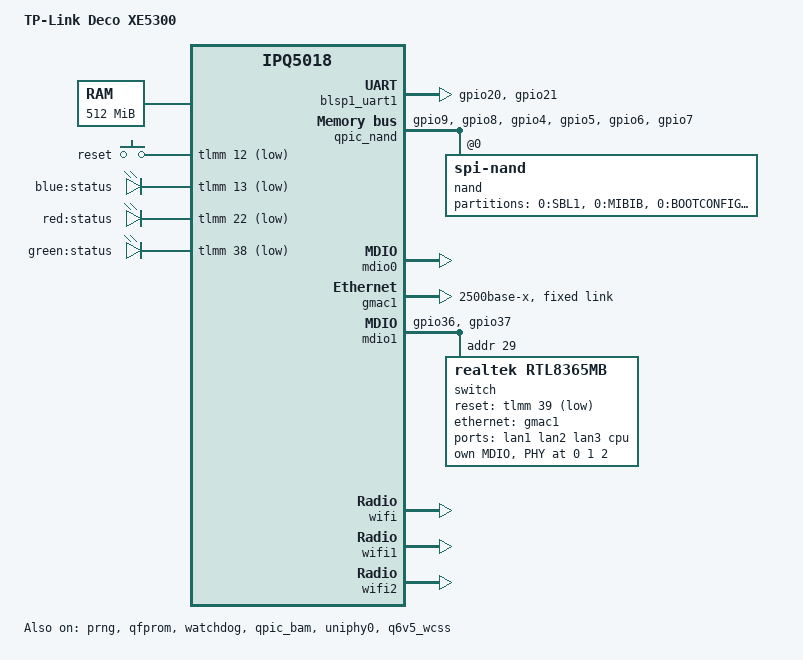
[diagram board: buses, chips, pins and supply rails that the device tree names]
// SPDX-License-Identifier: GPL-2.0-or-later OR MIT
/*
 * TP-Link Deco XE5300 (hardware 2.0)
 *
 * IPQ5018 with its 2.4 GHz radio, two QCN6122 radios (5 and 6 GHz), an
 * RTL8367S-VB switch behind a 2.5 Gb/s fixed link, 512 MiB RAM and 128 MiB
 * QPIC serial NAND.
 *
 * The stock bootloader selects a firmware slot by name from the tp_boot_idx
 * variable (0: "rootfs", 1: "rootfs_1") and passes ubi.mtd=<slot>
 * root=mtd:ubi_rootfs. OpenWrt keeps its kernel FIT in UBI volume "kernel"
 * and its root file system in volume "rootfs", so the root device is
 * overridden below.
 */

/dts-v1/;

/* As in the stock device tree. */
/memreserve/ 0x4a3ee000 0x10000;

#include "ipq5018.dtsi"
#include "ipq5018-ess.dtsi"
#include "ipq5018-qcn6122.dtsi"

#include <dt-bindings/gpio/gpio.h>
#include <dt-bindings/input/input.h>

/ {
	model = "TP-Link Deco XE5300";
	compatible = "tplink,deco-xe5300", "qcom,ipq5018";

	aliases {
		serial0 = &blsp1_uart1;
		led-boot = &led_status_blue;
		led-failsafe = &led_status_red;
		led-running = &led_status_green;
		led-upgrade = &led_status_blue;
	};

	chosen {
		stdout-path = "serial0:115200n8";
		/*
		 * The bootloader hardcodes root=mtd:ubi_rootfs; override it.
		 * The Q6 needs clocks that no driver claims: without
		 * clk_ignore_unused its start times out.
		 */
		bootargs-append = " root=/dev/ubiblock0_1 coherent_pool=2M clk_ignore_unused";
	};

	memory@40000000 {
		device_type = "memory";
		reg = <0x0 0x40000000 0x0 0x20000000>;
	};

	reserved-memory {
		/* Keeps the kernel log of a crash across the reboot (pstore). */
		ramoops@40f00000 {
			compatible = "ramoops";
			reg = <0x0 0x40f00000 0x0 0x100000>;
			record-size = <0x20000>;
			console-size = <0x40000>;
			pmsg-size = <0x10000>;
		};
	};

	keys {
		compatible = "gpio-keys";
		pinctrl-0 = <&button_pins>;
		pinctrl-names = "default";

		button-reset {
			label = "reset";
			gpios = <&tlmm 12 GPIO_ACTIVE_LOW>;
			linux,code = <KEY_RESTART>;
			debounce-interval = <60>;
		};
	};

	leds {
		compatible = "gpio-leds";
		pinctrl-0 = <&led_pins>;
		pinctrl-names = "default";

		/* One status light with three colours; GPIOs from the stock device tree. */
		led_status_blue: led-status-blue {
			label = "blue:status";
			gpios = <&tlmm 13 GPIO_ACTIVE_LOW>;
			default-state = "off";
		};

		led_status_red: led-status-red {
			label = "red:status";
			gpios = <&tlmm 22 GPIO_ACTIVE_LOW>;
			default-state = "off";
		};

		led_status_green: led-status-green {
			label = "green:status";
			gpios = <&tlmm 38 GPIO_ACTIVE_LOW>;
			default-state = "off";
		};
	};
};

&tz_region {
	/* 4 MiB, as in the stock device tree. */
	reg = <0x0 0x4ac00000 0x0 0x400000>;
};

&sleep_clk {
	clock-frequency = <32000>;
};

&xo_board_clk {
	clock-div = <4>;
	clock-mult = <1>;
};

&blsp1_uart1 {
	pinctrl-0 = <&serial_0_pins>;
	pinctrl-names = "default";
	status = "okay";
};

&prng {
	status = "okay";
};

&qfprom {
	status = "okay";
};

&watchdog {
	status = "okay";
};

&qpic_bam {
	status = "okay";
};

&qpic_nand {
	pinctrl-0 = <&qpic_pins>;
	pinctrl-names = "default";
	status = "okay";

	nand@0 {
		compatible = "spi-nand";
		reg = <0>;

		nand-ecc-engine = <&qpic_nand>;
		nand-ecc-strength = <4>;
		nand-ecc-step-size = <512>;
		nand-bus-width = <8>;

		/*
		 * Offsets read from stock. Only the two firmware slots and the
		 * bootloader environment (for tp_boot_idx) are writable.
		 */
		partitions {
			compatible = "fixed-partitions";
			#address-cells = <1>;
			#size-cells = <1>;

			partition@0 {
				label = "0:SBL1";
				reg = <0x0 0x80000>;
				read-only;
			};

			partition@80000 {
				label = "0:MIBIB";
				reg = <0x80000 0x80000>;
				read-only;
			};

			partition@100000 {
				label = "0:BOOTCONFIG";
				reg = <0x100000 0x40000>;
				read-only;
			};

			partition@140000 {
				label = "0:BOOTCONFIG1";
				reg = <0x140000 0x40000>;
				read-only;
			};

			partition@180000 {
				label = "0:QSEE";
				reg = <0x180000 0x100000>;
				read-only;
			};

			partition@280000 {
				label = "0:DEVCFG";
				reg = <0x280000 0x40000>;
				read-only;
			};

			partition@2c0000 {
				label = "0:CDT";
				reg = <0x2c0000 0x40000>;
				read-only;
			};

			partition@300000 {
				label = "0:APPSBLENV";
				reg = <0x300000 0x80000>;
			};

			partition@380000 {
				label = "0:APPSBL";
				reg = <0x380000 0x140000>;
				read-only;
			};

			partition@4c0000 {
				label = "0:ART";
				reg = <0x4c0000 0x100000>;
				read-only;
			};

			partition@5c0000 {
				label = "0:TRAINING";
				reg = <0x5c0000 0x80000>;
				read-only;
			};

			partition@640000 {
				label = "rootfs";
				reg = <0x640000 0x2a00000>;
			};

			partition@3040000 {
				label = "rootfs_1";
				reg = <0x3040000 0x2a00000>;
			};

			partition@5a40000 {
				label = "0:ETHPHYFW";
				reg = <0x5a40000 0x80000>;
				read-only;
			};

			partition@5ac0000 {
				label = "factory_data";
				reg = <0x5ac0000 0x900000>;
				read-only;
			};

			partition@63c0000 {
				label = "runtime_data";
				reg = <0x63c0000 0x1100000>;
				read-only;
			};
		};
	};
};

/* mdio0 carries the shared MDIO clock and reset. */
&mdio0 {
	status = "okay";
};

&uniphy0 {
	status = "okay";
};

&gmac1 {
	status = "okay";
	phy-mode = "2500base-x";

	fixed-link {
		speed = <2500>;
		full-duplex;
	};
};

&mdio1 {
	status = "okay";
	pinctrl-0 = <&mdio1_pins>;
	pinctrl-names = "default";

	switch@1d {
		compatible = "realtek,rtl8365mb";
		reg = <0x1d>;
		reset-gpios = <&tlmm 39 GPIO_ACTIVE_LOW>;

		mdio {
			compatible = "realtek,smi-mdio";
			#address-cells = <1>;
			#size-cells = <0>;

			switchphy0: ethernet-phy@0 {
				reg = <0>;
			};

			switchphy1: ethernet-phy@1 {
				reg = <1>;
			};

			switchphy2: ethernet-phy@2 {
				reg = <2>;
			};
		};

		ports {
			#address-cells = <1>;
			#size-cells = <0>;

			/* Which physical socket is which has not been mapped yet. */
			port@0 {
				reg = <0>;
				label = "lan1";
				phy-handle = <&switchphy0>;
			};

			port@1 {
				reg = <1>;
				label = "lan2";
				phy-handle = <&switchphy1>;
			};

			port@2 {
				reg = <2>;
				label = "lan3";
				phy-handle = <&switchphy2>;
			};

			port@6 {
				reg = <6>;
				label = "cpu";
				ethernet = <&gmac1>;
				phy-mode = "2500base-x";

				fixed-link {
					speed = <2500>;
					full-duplex;
				};
			};
		};
	};
};

/*
 * Q6 memory map (region size and per-radio board-data, calibration and dump
 * addresses) as in the stock device tree. It is required: this board's board
 * files are in the WLAN.HK.2.5 format and only a 2.5 firmware accepts them,
 * and the public WLAN.HK.2.5.0.1 build asserts in platform_map.c with the
 * smaller map the other dual-QCN6122 boards (Zyxel SCR50AXE, Linksys MX6200)
 * use.
 */
&q6_region {
	reg = <0x0 0x4b000000 0x0 0x05400000>;
};

&q6v5_wcss {
	status = "okay";
};

/*
 * The Q6 firmware waits for the restart acknowledgement before it reports
 * "ready" on any start after the first one (same as the stock device tree).
 */
&wcss_smp2p_out {
	qcom,smp2p-feature-ssr-ack;
};

/* IPQ5018, 2.4 GHz */
&wifi {
	status = "okay";

	qcom,rproc = <&q6_wcss_pd1>;
	qcom,calibration-variant = "TP-Link-Deco-XE5300-2G";
	qcom,ath11k-fw-memory-mode = <1>;
	qcom,bdf-addr = <0x4c400000>;
	qcom,caldb-addr = <0x4d400000>;
	qcom,m3-dump-addr = <0x4d200000>;
};

/* QCN6122, 6 GHz */
&wifi1 {
	status = "okay";

	qcom,rproc = <&q6_wcss_pd2>;
	qcom,userpd-subsys-name = "q6v5_wcss_userpd2";
	qcom,calibration-variant = "TP-Link-Deco-XE5300-6G";
	qcom,ath11k-fw-memory-mode = <1>;
	qcom,bdf-addr = <0x4d600000>;
	qcom,caldb-addr = <0x4e800000>;
	qcom,m3-dump-addr = <0x4e600000>;
};

/* QCN6122, 5 GHz */
&wifi2 {
	status = "okay";

	qcom,rproc = <&q6_wcss_pd3>;
	qcom,userpd-subsys-name = "q6v5_wcss_userpd3";
	qcom,calibration-variant = "TP-Link-Deco-XE5300-5G";
	qcom,ath11k-fw-memory-mode = <1>;
	qcom,bdf-addr = <0x4ed00000>;
	qcom,caldb-addr = <0x4ff00000>;
	qcom,m3-dump-addr = <0x4fd00000>;
};

&tlmm {
	serial_0_pins: uart0-state {
		pins = "gpio20", "gpio21";
		function = "blsp0_uart0";
		bias-disable;
	};

	button_pins: button-state {
		pins = "gpio12";
		function = "gpio";
		drive-strength = <8>;
		bias-pull-up;
	};

	led_pins: led-state {
		pins = "gpio13", "gpio22", "gpio38";
		function = "gpio";
		drive-strength = <2>;
		bias-disable;
	};

	qpic_pins: qpic-state {
		clock-pins {
			pins = "gpio9";
			function = "qspi_clk";
			drive-strength = <8>;
			bias-disable;
		};

		cs-pins {
			pins = "gpio8";
			function = "qspi_cs";
			drive-strength = <8>;
			bias-disable;
		};

		data-pins {
			pins = "gpio4", "gpio5", "gpio6", "gpio7";
			function = "qspi_data";
			drive-strength = <8>;
			bias-disable;
		};
	};

	mdio1_pins: mdio1-state {
		mdc-pins {
			pins = "gpio36";
			function = "mdc";
			drive-strength = <8>;
			bias-pull-up;
		};

		mdio-pins {
			pins = "gpio37";
			function = "mdio";
			drive-strength = <8>;
			bias-pull-up;
		};
	};
};
